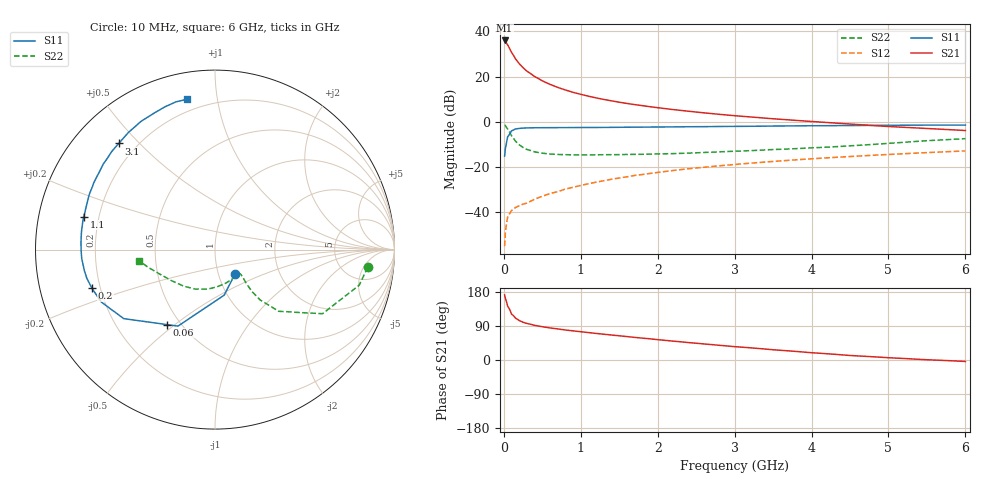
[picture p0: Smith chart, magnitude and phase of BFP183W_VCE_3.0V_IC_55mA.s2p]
! Infineon Technologies  Discrete & RF Semiconductors
! BFP183W
! VCE =  3.0 V,  IC =  55 mA
! Common Emitter S-Parameters:  Jan 2017
# GHz  S  MA  R  50
!  f  S11  S21  S12  S22
! GHz  MAG  ANG  MAG  ANG  MAG  ANG  MAG  ANG
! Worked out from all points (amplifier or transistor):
!   77 points, 10 MHz to 6 GHz, reference 50 ohm
!   highest |S21| = 36.0 dB at 10 MHz (marker M1)
!   |S21| within 3 dB of that: start of sweep to 65.96 MHz
!   unconditionally stable (mu >= 1): start of sweep to 11.11 MHz; 385.5 MHz to 4.424 GHz
!   at 130 MHz: K = 0.54, MSG = 33.7 dB, |S12| = -38.3 dB
!   at 2.2 GHz: K = 1.18, MAG = 10.9 dB, |S12| = -21.5 dB
!   at 6 GHz: K = 0.94, MSG = 4.5 dB, |S12| = -12.8 dB
!   S11 on the Smith chart (normalised r, x): 10 MHz: 1.20, -0.34; 60 MHz: 0.42, -0.47; 200 MHz: 0.17, -0.15; 1.1 GHz: 0.14, +0.12; 3.1 GHz: 0.13, +0.44; 6 GHz: 0.13, +0.82
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0.01  0.1758 -50.6  63.09 171.9  0.0018 80.2  0.8567 -6.6
0.02  0.2589 -78.6  60.83 162.8  0.0036 78.1  0.8272 -13.9
0.05  0.4735 -115.8  50.29 141.8  0.0079 58.8  0.6975 -30.8
0.06  0.4957 -122.5  46.73 138.8  0.0085 56.5  0.6546 -32.8
0.1  0.6374 -142.9  34.36 121.2  0.011 49.7  0.4941 -44.1
0.15  0.6973 -155.2  25.02 110.8  0.0128 44.6  0.3772 -48.1
0.2  0.7186 -162.5  19.38 104.2  0.0141 47.9  0.3127 -48.6
0.25  0.7318 -167.4  15.77 99.6  0.0153 49.8  0.2726 -47.7
0.3  0.7373 -170.9  13.24 96.4  0.0161 50.9  0.2468 -46.7
0.4  0.7443 -176.2  10.07 91.4  0.0196 56.2  0.2182 -44.8
0.5  0.746 -179.9  8.077 87.8  0.0228 59.4  0.2041 -44.0
0.6  0.7476 177.2  6.754 84.7  0.0262 61.0  0.1953 -43.9
0.7  0.7489 174.6  5.794 82.0  0.0288 64.3  0.1911 -44.2
0.9  0.7515 169.8  4.504 76.9  0.036 66.5  0.1874 -46.8
1.1  0.7539 165.9  3.704 72.4  0.0431 67.6  0.1872 -50.1
1.3  0.7561 162.0  3.137 68.0  0.0503 68.4  0.1887 -54.2
1.5  0.761 158.4  2.727 63.9  0.0578 68.5  0.1893 -58.7
2.1  0.7742 147.6  1.967 51.8  0.0805 67.0  0.1977 -75.5
3.1  0.7985 132.2  1.331 33.8  0.1186 61.5  0.2284 -105.7
4.1  0.8258 118.7  0.997 17.9  0.1571 54.5  0.272 -133.2
5.1  0.8445 108.3  0.776 5.0  0.1948 47.1  0.3452 -158.0
6  0.8519 100.4  0.647 -3.8  0.229 39.7  0.4271 -171.7
